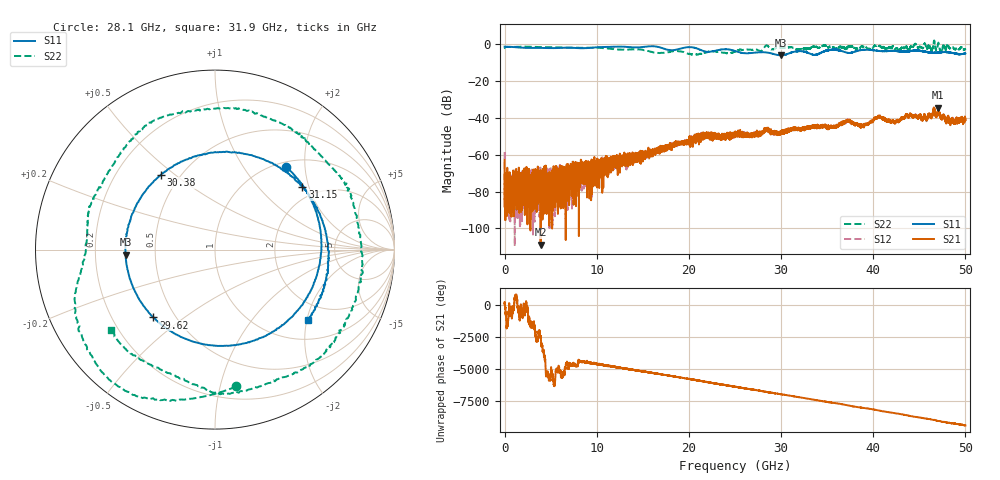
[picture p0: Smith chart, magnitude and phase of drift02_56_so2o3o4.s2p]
!Created with skrf (http://scikit-rf.org).
# Hz S RI R 50.0
!freq ReS11 ImS11 ReS21 ImS21 ReS12 ImS12 ReS22 ImS22
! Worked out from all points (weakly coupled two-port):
!   10001 points, 300 kHz to 50 GHz, reference 50 ohm
!   highest |S21| = -34.39 dB at 47.04 GHz (marker M1); lowest = -108.9 dB at 3.905 GHz (marker M2)
!   lowest |S11| = -6.1 dB at 29.95 GHz (marker M3), VSWR 2.98, Z = 16.8 - j1.23 ohm
!   |S11| at or under -10 dB: nowhere
!   |S22| runs from -5.7 to 2.1 dB; largest |S21 - S12| = 0.0037
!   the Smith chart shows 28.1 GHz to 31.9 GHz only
!   S11 on the Smith chart (normalised r, x): 28.1 GHz: 1.09, +1.59; 29.62 GHz: 0.38, -0.39; 30.38 GHz: 0.39, +0.45; 31.15 GHz: 1.67, +1.81; 31.9 GHz: 1.49, -2.02
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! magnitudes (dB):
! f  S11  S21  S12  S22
! 300 kHz  -1.3  -62.7  -58.5  -2.0
! 290.3 MHz  -1.4  -67.1  -77.1  -1.4
! 3.905 GHz  -2.0  -108.9  -80.2  -1.5
! 8.335 GHz  -2.2  -72.4  -70.9  -1.9
! 16.67 GHz  -1.4  -57.6  -57.3  -4.7
! 21.53 GHz  -3.6  -48.3  -49.7  -4.6
! 25 GHz  -3.7  -50.5  -48.7  -3.9
! 28.1 GHz  -4.3  -47.5  -46.8  -2.3
! 29.62 GHz  -5.8  -48.5  -48.1  -2.1
! 29.95 GHz  -6.1  -47.8  -47.5  -2.0
! 30.38 GHz  -5.8  -47.0  -47.5  -1.9
! 31.15 GHz  -4.4  -46.8  -46.1  -1.6
! 31.9 GHz  -3.8  -46.1  -46.1  -2.7
! 33.34 GHz  -5.5  -44.6  -45.0  -1.5
! 35.63 GHz  -2.9  -44.9  -44.5  -1.5
! 37.28 GHz  -4.7  -41.2  -41.3  -1.4
! 38.84 GHz  -3.0  -44.4  -44.4  -1.2
! 40.61 GHz  -3.6  -39.1  -39.3  -1.0
! 41.67 GHz  -3.6  -41.9  -41.0  -2.0
! 47.04 GHz  -4.5  -34.4  -35.6  0.5
! 48.54 GHz  -4.7  -41.4  -40.5  -1.6
! 50 GHz  -4.9  -40.4  -40.2  -2.6
